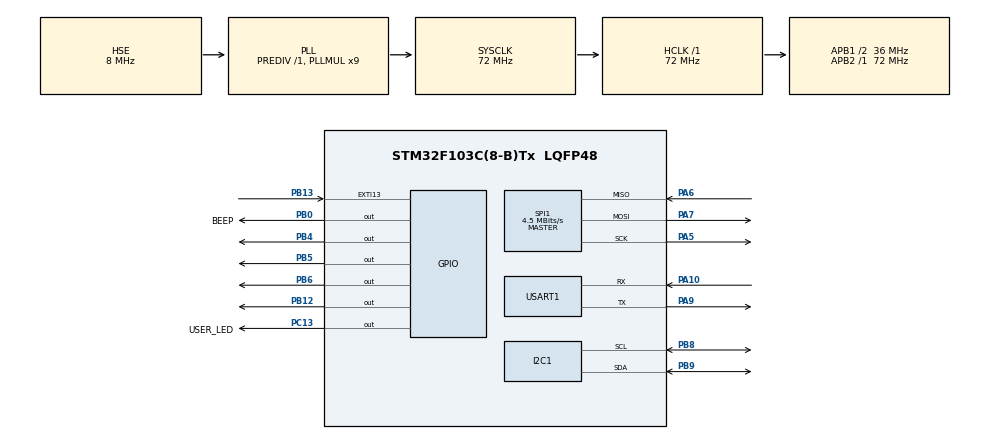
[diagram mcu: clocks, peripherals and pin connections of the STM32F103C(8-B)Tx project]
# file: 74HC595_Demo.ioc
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Mcu.Family=STM32F1
Mcu.Name=STM32F103C(8-B)Tx
Mcu.Package=LQFP48
NVIC.EXTI15_10_IRQn=true\:0\:0\:false\:false\:true\:true\:true\:true
NVIC.PriorityGroup=NVIC_PRIORITYGROUP_4
NVIC.RTC_IRQn=true\:0\:0\:false\:false\:true\:true\:true\:true
NVIC.TIM1_UP_IRQn=true\:0\:0\:false\:false\:true\:true\:true\:true
NVIC.TIM3_IRQn=true\:2\:0\:true\:false\:true\:true\:true\:true
NVIC.TIM4_IRQn=true\:15\:0\:false\:false\:true\:false\:true\:true
NVIC.TimeBase=TIM4_IRQn
NVIC.TimeBaseIP=TIM4
NVIC.USART1_IRQn=true\:0\:0\:false\:false\:true\:true\:true\:true
PA10.Mode=Asynchronous
PA10.Signal=USART1_RX
PA13.Mode=Serial_Wire
PA13.Signal=SYS_JTMS-SWDIO
PA14.Mode=Serial_Wire
PA14.Signal=SYS_JTCK-SWCLK
PA5.Mode=Full_Duplex_Master
PA5.Signal=SPI1_SCK
PA6.Mode=Full_Duplex_Master
PA6.Signal=SPI1_MISO
PA7.Mode=Full_Duplex_Master
PA7.Signal=SPI1_MOSI
PA9.Mode=Asynchronous
PA9.Signal=USART1_TX
PB0.GPIO_Label=BEEP
PB0.Signal=GPIO_Output
PB12.GPIO_PuPd=GPIO_PULLUP
PB12.GPIO_Speed=GPIO_SPEED_FREQ_HIGH
PB12.PinState=GPIO_PIN_SET
PB12.Signal=GPIO_Output
PB13.GPIO_ModeDefaultEXTI=GPIO_MODE_IT_FALLING
PB13.GPIO_PuPd=GPIO_PULLUP
PB13.Signal=GPXTI13
PB4.Signal=GPIO_Output
PB5.Signal=GPIO_Output
PB6.Signal=GPIO_Output
PB8.Mode=I2C
PB8.Signal=I2C1_SCL
PB9.Mode=I2C
PB9.Signal=I2C1_SDA
PC13-TAMPER-RTC.GPIO_Label=USER_LED
PC13-TAMPER-RTC.Signal=GPIO_Output
PC14-OSC32_IN.Mode=LSE-External-Oscillator
PC14-OSC32_IN.Signal=RCC_OSC32_IN
PC15-OSC32_OUT.Mode=LSE-External-Oscillator
PC15-OSC32_OUT.Signal=RCC_OSC32_OUT
PD0-OSC_IN.Mode=HSE-External-Oscillator
PD0-OSC_IN.Signal=RCC_OSC_IN
PD1-OSC_OUT.Mode=HSE-External-Oscillator
PD1-OSC_OUT.Signal=RCC_OSC_OUT
ProjectManager.HeapSize=0x200
ProjectManager.StackSize=0x400
ProjectManager.TargetToolchain=MDK-ARM V5
RCC.AHBFreq_Value=72000000
RCC.APB1CLKDivider=RCC_HCLK_DIV2
RCC.APB1Freq_Value=36000000
RCC.APB1TimFreq_Value=72000000
RCC.APB2Freq_Value=72000000
RCC.APB2TimFreq_Value=72000000
RCC.HCLKFreq_Value=72000000
RCC.PLLMUL=RCC_PLL_MUL9
RCC.PLLSourceVirtual=RCC_PLLSOURCE_HSE
RCC.SYSCLKFreq_VALUE=72000000
RCC.SYSCLKSource=RCC_SYSCLKSOURCE_PLLCLK
RCC.USBFreq_Value=72000000
RTC.Date=27
RTC.Format=RTC_FORMAT_BIN
RTC.Hours=13
RTC.Minutes=30
RTC.Month=RTC_MONTH_MAY
RTC.WeekDay=RTC_WEEKDAY_TUESDAY
RTC.Year=25
SPI1.BaudRatePrescaler=SPI_BAUDRATEPRESCALER_16
SPI1.CalculateBaudRate=4.5 MBits/s
SPI1.Direction=SPI_DIRECTION_2LINES
SPI1.Mode=SPI_MODE_MASTER
SPI1.VirtualType=VM_MASTER
TIM1.AutoReloadPreload=TIM_AUTORELOAD_PRELOAD_ENABLE
TIM1.Period=104
TIM1.Prescaler=71
TIM2.AutoReloadPreload=TIM_AUTORELOAD_PRELOAD_ENABLE
TIM2.Prescaler=71
TIM3.AutoReloadPreload=TIM_AUTORELOAD_PRELOAD_ENABLE
TIM3.Period=999
TIM3.Prescaler=71
USART1.VirtualMode=VM_ASYNC
VP_RTC_No_RTC_Output.Mode=RTC_OUT_NO
VP_RTC_VS_RTC_Activate.Mode=RTC_Enabled
VP_RTC_VS_RTC_Calendar.Mode=RTC_Calendar
VP_SYS_VS_tim4.Mode=TIM4
VP_TIM1_VS_ClockSourceINT.Mode=Internal
VP_TIM2_VS_ClockSourceINT.Mode=Internal
VP_TIM3_VS_ClockSourceINT.Mode=Internal
board=custom

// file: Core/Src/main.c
/* USER CODE BEGIN Header */
/**
 ******************************************************************************
 * @file           : main.c
 * @brief          : Main program body
 ******************************************************************************
 * @attention
 *
 * Copyright (c) 2025 STMicroelectronics.
 * All rights reserved.
 *
 * This software is licensed under terms that can be found in the LICENSE file
 * in the root directory of this software component.
 * If no LICENSE file comes with this software, it is provided AS-IS.
 *
 ******************************************************************************
 */
/* USER CODE END Header */
#include "main.h"
#include "i2c.h"
#include "rtc.h"
#include "spi.h"
#include "tim.h"
#include "usart.h"
#include "gpio.h"

/* USER CODE BEGIN Includes */
#include "flag.h"
/* USER CODE END Includes */

void SystemClock_Config(void);

int main(void)
{

  /* MCU Configuration--------------------------------------------------------*/

  /* Reset of all peripherals, Initializes the Flash interface and the Systick. */
  HAL_Init();

  /* Configure the system clock */
  SystemClock_Config();

  /* Initialize all configured peripherals */
  MX_GPIO_Init();
  MX_USART1_UART_Init();
  MX_TIM1_Init();
  MX_TIM2_Init();
  MX_SPI1_Init();
  MX_TIM3_Init();
  MX_I2C1_Init();
  MX_RTC_Init();
  /* USER CODE BEGIN 2 */
  HC595_Init();
    HAL_RTC_GetTime(&hrtc, &GetTime, RTC_FORMAT_BIN);//获取时间
  HAL_RTC_GetDate(&hrtc, &GetData, RTC_FORMAT_BIN);//获取日期
//  HAL_UART_Receive_DMA(&huart1, (uint8_t *)UserCommon.uartReceive, UART_BUFFSIZE);
//__HAL_UART_ENABLE_IT(&huart1, UART_IT_IDLE);
 HAL_UART_Receive_IT(&huart1, &UserCommon.rx_byte, 1);
//  HAL_TIM_Base_Start_IT(&htim3);
//    HAL_TIM_PWM_Start(&htim1,TIM_CHANNEL_1);
  UserCommon.second = GetTime.Seconds;
  UserCommon.minute = GetTime.Minutes;
  UserCommon.hour = GetTime.Hours;
  UserCommon.flag.isUpdateTime = ON;
  //  HAL_GPIO_WritePin(USER_LED_GPIO_Port,USER_LED_Pin,GPIO_PIN_RESET);
  //  uint8_t flag = 1;
  SoftwareUART_Conf_t conf = {
    .baud = BITS_9600,
    .HardWare = {
      .TXport = GPIOB,
      .TXpin = GPIO_PIN_12,
      .RXport = GPIOB,
      .RXpin = GPIO_PIN_13,
      .DelayHtime = &htim2,
      .InterruptHtime = &htim1,
    },
    .rxbuffer = UserCommon.uartReceive,
    .rx_size = UART_BUFFSIZE,
  };

  SoftwareUART_Init(&SoftUart,&conf); // 软件串口初始化
    Buzzer_Conf_t beep_conf = {
    .beep.port = USER_LED_GPIO_Port, // BEEP_GPIO_Port
    .beep.pin = USER_LED_Pin,
    .type = BUZZER_ACTIVE,
  };
  Buzzer_Init(&beep,&beep_conf);
  Buzzer_StartBeep(&beep,500,4,-1);
  xTaskCreate(RunTime,      "Time_task",     128, NULL, 8, NULL);
  xTaskCreate(LedTask,      "led_task",      128, NULL, 3, NULL);
//  xTaskCreate(beepTask,      "beepTask",     128,  NULL,3,NULL);
  // xTaskCreate(DisplayTime,  "Display_task",  128, NULL, 3, NULL);
  xTaskCreate(UartTest,      "SoftWare_task", 512,NULL,10,NULL);
  vTaskStartScheduler();

  /* USER CODE END 2 */

  /* Infinite loop */
  while (1)
  {

  }
}

void SystemClock_Config(void)
{
  RCC_OscInitTypeDef RCC_OscInitStruct = {0};
  RCC_ClkInitTypeDef RCC_ClkInitStruct = {0};
  RCC_PeriphCLKInitTypeDef PeriphClkInit = {0};

  /** Initializes the RCC Oscillators according to the specified parameters
  * in the RCC_OscInitTypeDef structure.
  */
  RCC_OscInitStruct.OscillatorType = RCC_OSCILLATORTYPE_LSI|RCC_OSCILLATORTYPE_HSE;
  RCC_OscInitStruct.HSEState = RCC_HSE_ON;
  RCC_OscInitStruct.HSEPredivValue = RCC_HSE_PREDIV_DIV1;
  RCC_OscInitStruct.HSIState = RCC_HSI_ON;
  RCC_OscInitStruct.LSIState = RCC_LSI_ON;
  RCC_OscInitStruct.PLL.PLLState = RCC_PLL_ON;
  RCC_OscInitStruct.PLL.PLLSource = RCC_PLLSOURCE_HSE;
  RCC_OscInitStruct.PLL.PLLMUL = RCC_PLL_MUL9;
  if (HAL_RCC_OscConfig(&RCC_OscInitStruct) != HAL_OK)
  {
    Error_Handler();
  }

  /** Initializes the CPU, AHB and APB buses clocks
  */
  RCC_ClkInitStruct.ClockType = RCC_CLOCKTYPE_HCLK|RCC_CLOCKTYPE_SYSCLK
                              |RCC_CLOCKTYPE_PCLK1|RCC_CLOCKTYPE_PCLK2;
  RCC_ClkInitStruct.SYSCLKSource = RCC_SYSCLKSOURCE_PLLCLK;
  RCC_ClkInitStruct.AHBCLKDivider = RCC_SYSCLK_DIV1;
  RCC_ClkInitStruct.APB1CLKDivider = RCC_HCLK_DIV2;
  RCC_ClkInitStruct.APB2CLKDivider = RCC_HCLK_DIV1;

  if (HAL_RCC_ClockConfig(&RCC_ClkInitStruct, FLASH_LATENCY_2) != HAL_OK)
  {
    Error_Handler();
  }
  PeriphClkInit.PeriphClockSelection = RCC_PERIPHCLK_RTC;
  PeriphClkInit.RTCClockSelection = RCC_RTCCLKSOURCE_LSI;
  if (HAL_RCCEx_PeriphCLKConfig(&PeriphClkInit) != HAL_OK)
  {
    Error_Handler();
  }
}

void HAL_TIM_PeriodElapsedCallback(TIM_HandleTypeDef *htim)
{
  /* USER CODE BEGIN Callback 0 */
//    static uint8_t sys1ms_count = 0;
//    static uint8_t sys5ms_count = 0;
//    static uint8_t sys100ms_count = 0;
//    static uint8_t sys250ms_count = 0;
//    static uint16_t sys500ms_count = 0;
//    static uint16_t sys1000ms_count = 0;
  /* USER CODE END Callback 0 */
  if (htim->Instance == TIM4) {
    HAL_IncTick();
  }
  /* USER CODE BEGIN Callback 1 */
  if (htim->Instance == TIM1)
  {
    SoftwareUART_TickHandler(&SoftUart);
  }

  if(htim->Instance == TIM3)
  {

  }
  /* USER CODE END Callback 1 */
}

void Error_Handler(void)
{
  __disable_irq();
  while (1)
  {
  }
}
